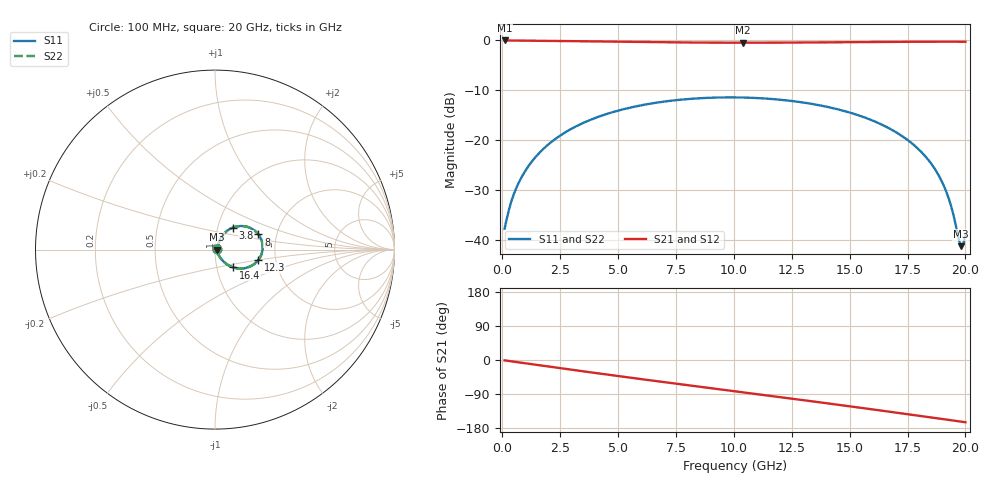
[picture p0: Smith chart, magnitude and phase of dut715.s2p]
! Touchstone file exported from HFSS 2026.1.0
!  File:  C:/ffzhzh/LocalFiles/Ansys_Project_Files/temp_train_TSV_RDL_715_1783200870_55132.aedt
!  Generated:  05:43:24 AM Jul  5, 2026
!  Design:  TSV_RDL
!  Project:  temp_train_TSV_RDL_715_1783200870_55132
! Variables:
!  h_bsmrdl = 3.34um
!  h_ox = 20um
!  h_rdl = 5um
!  h_sub = 55.5um
!  h_tmrdl = 2.88um
!  h_tsv = 55.5um
!  h_via = 3um
!  l_bsmrdl = 186.01um
!  l_sub = 2766.11um
!  l_tmrdl = 415.63um
!  m_sub = 200um
!  pitch = 40.59um
!  r_tsv = 14.76um
!  s_tmrdl = 10um
!  w_bsmrdl = 22.55um
!  w_sub = 500um
!  w_tmrdl = 25.97um
!  x_tsv_center1 = 428.615um
!  x_tsv_center2 = 637.175um
!  x_tsv_center3 = 1078.775um
!  x_tsv_center4 = 1287.335um
!  x_tsv_center5 = 1728.935um
!  x_tsv_center6 = 1937.495um
# GHz S MA R 50.000000
! Terminal data exported
! Port[1] = TM_RDL1_1_T1
! Port[2] = TM_RDL5_1_T1
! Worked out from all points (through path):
!   200 points, 100 MHz to 20 GHz, reference 50 ohm
!   highest |S21| = -0.10 dB at 100 MHz (marker M1); lowest = -0.6 dB at 10.4 GHz (marker M2)
!   group delay of S21, straight-line fit = 22.5 ps
!   lowest |S11| = -41.2 dB at 19.8 GHz (marker M3), VSWR 1.02, Z = 50.9 + j0.0479 ohm
!   |S11| at or under -10 dB: start of sweep to end of sweep
!   |S22| runs from -41.5 to -11.5 dB; largest |S21 - S12| = 2.8e-14
!   S11 on the Smith chart (normalised r, x): 100 MHz: 1.02, +0.01; 3.8 GHz: 1.18, +0.30; 8 GHz: 1.61, +0.29; 12.3 GHz: 1.62, -0.20; 16.4 GHz: 1.20, -0.24; 20 GHz: 1.01, +0.02
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0.1  0.01298 25.1  0.9883 -0.9  0.9883 -0.9  0.01298 25.1
! Gamma 0 0 0 0
! Port Impedance 50 0 50 0
0.3  0.02063 47.7  0.9867 -2.7  0.9867 -2.7  0.02063 47.7
0.5  0.0288 55.7  0.9853 -4.5  0.9853 -4.5  0.0288 55.7
1.2  0.05768 63.3  0.9822 -10.4  0.9822 -10.4  0.05768 63.3
2.2  0.09877 60.9  0.9777 -19.0  0.9777 -19.0  0.09878 60.9
3.5  0.1483 52.9  0.97 -29.9  0.97 -29.9  0.1483 52.9
3.8  0.1587 50.8  0.968 -32.4  0.968 -32.4  0.1588 50.8
6.8  0.2386 28.4  0.9486 -56.9  0.9486 -56.9  0.2386 28.4
8  0.2563 19.3  0.9429 -66.4  0.9429 -66.4  0.2563 19.2
10.1  0.2664 3.4  0.9382 -83.0  0.9382 -83.0  0.2664 3.3
10.4  0.2656 1.1  0.9381 -85.3  0.9381 -85.3  0.2656 1.1
12.3  0.2484 -13.3  0.9406 -100.3  0.9406 -100.3  0.2485 -13.3
13.4  0.2288 -21.7  0.9441 -109.2  0.9441 -109.2  0.2288 -21.7
15  0.1881 -33.8  0.9504 -122.2  0.9504 -122.2  0.1881 -33.9
16.4  0.142 -44.3  0.9558 -133.8  0.9558 -133.8  0.142 -44.4
16.7  0.131 -46.4  0.9568 -136.3  0.9568 -136.3  0.131 -46.6
17.9  0.08393 -54.2  0.9597 -146.4  0.9597 -146.4  0.08393 -54.4
18.8  0.04624 -56.8  0.9605 -154.0  0.9605 -154.0  0.04622 -57.2
19.3  0.02517 -51.8  0.9604 -158.3  0.9604 -158.3  0.0251 -52.5
19.8  0.008674 3.1  0.9597 -162.5  0.9597 -162.5  0.008375 2.5
19.9  0.00894 31.3  0.9596 -163.4  0.9596 -163.4  0.008633 31.7
20  0.01112 52.7  0.9594 -164.2  0.9594 -164.2  0.01086 53.6
